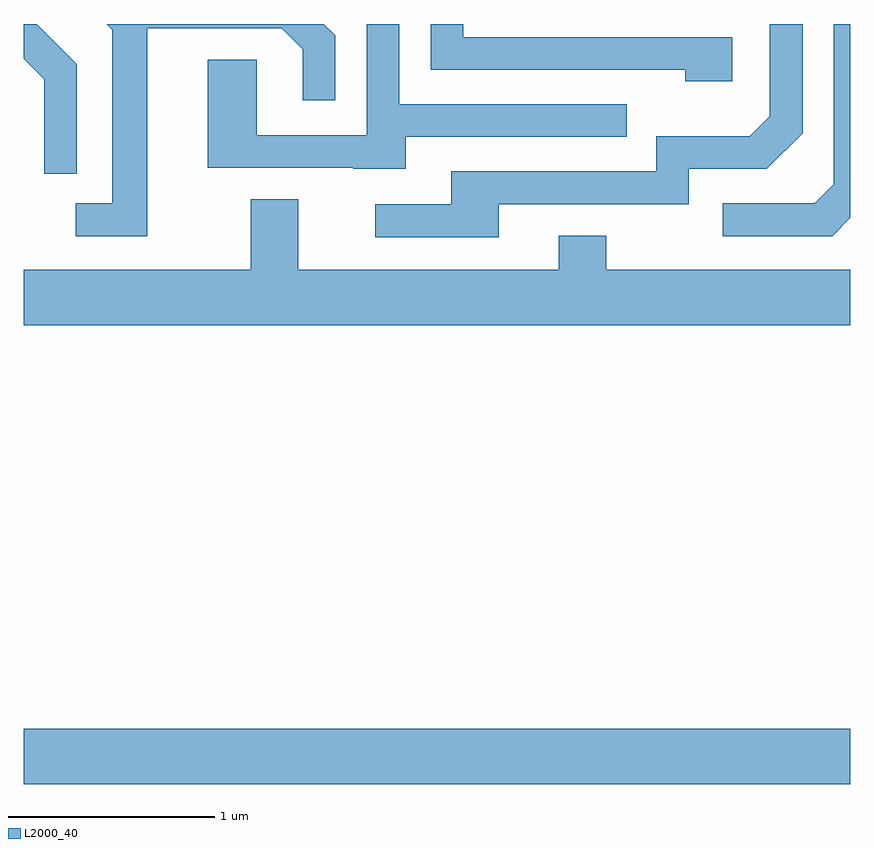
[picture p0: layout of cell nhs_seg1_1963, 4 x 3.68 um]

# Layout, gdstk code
import gdstk
lib = gdstk.Library(unit=1e-6, precision=1e-09)
def R(c, l, rs):  # rectangles x0, y0, x1, y1
    for r in rs: c.add(gdstk.rectangle(r[:2], r[2:], *l))
def P(c, l, *ps):  # polygons
    for p in ps: c.add(gdstk.Polygon(p, *l))
L2000_40 = (2000, 40)

nhs_seg1_1963 = lib.new_cell('nhs_seg1_1963')
R(nhs_seg1_1963, L2000_40, [(245.611,884.036,249.611,884.304)])
P(nhs_seg1_1963, L2000_40, [(245.869,887.517),(245.674,887.712),(245.611,887.712),(245.611,887.544),(245.711,887.444),(245.711,886.988),(245.869,886.988)],
  [(249.039,887.649),(247.739,887.649),(247.739,887.712),(247.581,887.712),(247.581,887.491),(248.811,887.491),(248.811,887.436),(249.039,887.436)],
  [(249.611,886.776),(249.611,887.712),(249.531,887.712),(249.531,886.937),(249.439,886.844),(248.993,886.844),(248.993,886.686),(249.522,886.686)],
  [(247.459,887.166),(248.528,887.166),(248.528,887.324),(247.429,887.324),(247.429,887.712),(247.271,887.712),(247.271,887.174),(246.739,887.174),(246.739,887.539),(246.501,887.539),(246.501,887.016),(247.205,887.016),(247.205,887.011),(247.459,887.011)],
  [(247.909,886.841),(248.829,886.841),(248.829,887.011),(249.207,887.011),(249.379,887.184),(249.379,887.712),(249.221,887.712),(249.221,887.267),(249.124,887.169),(248.671,887.169),(248.671,886.999),(247.681,886.999),(247.681,886.839),(247.313,886.839),(247.313,886.681),(247.909,886.681)],
  [(246.209,887.691),(246.859,887.691),(246.961,887.589),(246.961,887.343),(247.119,887.343),(247.119,887.657),(247.064,887.712),(246.013,887.712),(246.041,887.684),(246.041,886.844),(245.863,886.844),(245.863,886.686),(246.209,886.686)],
  [(246.711,886.864),(246.711,886.524),(245.611,886.524),(245.611,886.256),(249.611,886.256),(249.611,886.524),(248.429,886.524),(248.429,886.689),(248.201,886.689),(248.201,886.524),(246.939,886.524),(246.939,886.864)])

lib.write_gds('nhs_seg1_1963.gds')
